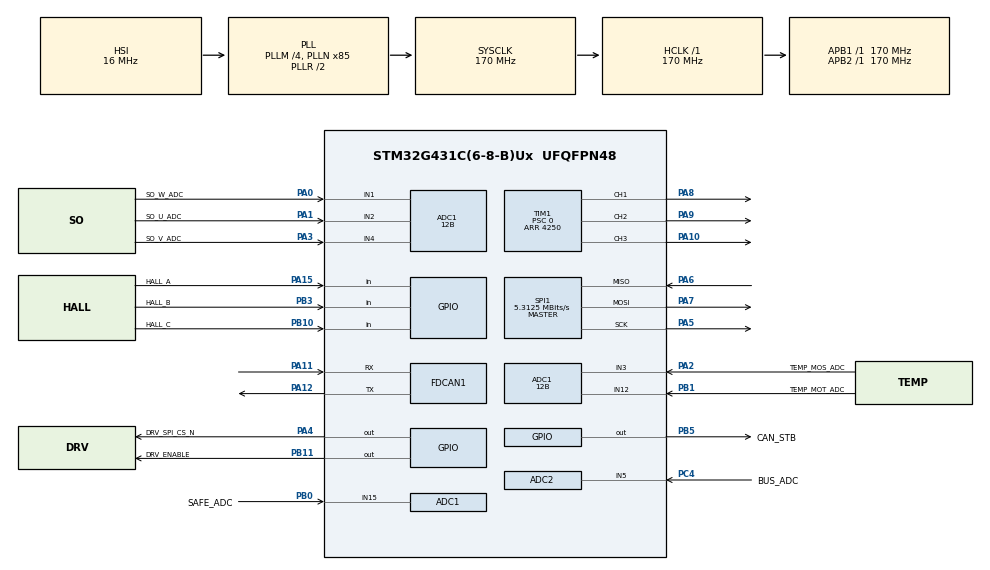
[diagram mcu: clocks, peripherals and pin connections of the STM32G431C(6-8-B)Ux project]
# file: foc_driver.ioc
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ADC1.Channel-0\#ChannelRegularConversion=ADC_CHANNEL_3
ADC1.Channel-1\#ChannelRegularConversion=ADC_CHANNEL_12
ADC1.Channel-2\#ChannelRegularConversion=ADC_CHANNEL_15
ADC1.ClockPrescaler=ADC_CLOCK_SYNC_PCLK_DIV4
ADC1.ContinuousConvMode=ENABLE
ADC1.DataAlign=ADC_DATAALIGN_RIGHT
ADC1.DiscontinuousConvMode=DISABLE
ADC1.EOCSelection=ADC_EOC_SEQ_CONV
ADC1.ExternalTrigConv=ADC_SOFTWARE_START
ADC1.ExternalTrigConvEdge=ADC_EXTERNALTRIGCONVEDGE_NONE
ADC1.LowPowerAutoWait=DISABLE
ADC1.Mode=ADC_MODE_INDEPENDENT
ADC1.NbrOfConversion=3
ADC1.NbrOfConversionFlag=1
ADC1.Overrun=ADC_OVR_DATA_OVERWRITTEN
ADC1.OversamplingMode=DISABLE
ADC1.Rank-0\#ChannelRegularConversion=1
ADC1.Rank-1\#ChannelRegularConversion=2
ADC1.Rank-2\#ChannelRegularConversion=3
ADC1.Resolution=ADC_RESOLUTION_12B
ADC1.SamplingTime-0\#ChannelRegularConversion=ADC_SAMPLETIME_247CYCLES_5
ADC1.SamplingTime-1\#ChannelRegularConversion=ADC_SAMPLETIME_247CYCLES_5
ADC1.SamplingTime-2\#ChannelRegularConversion=ADC_SAMPLETIME_247CYCLES_5
ADC1.ScanConvMode=ADC_SCAN_ENABLE
ADC1.master=1
ADC2.Channel-0\#ChannelRegularConversion=ADC_CHANNEL_5
ADC2.ClockPrescaler=ADC_CLOCK_SYNC_PCLK_DIV4
ADC2.ContinuousConvMode=ENABLE
ADC2.DataAlign=ADC_DATAALIGN_RIGHT
ADC2.DiscontinuousConvMode=DISABLE
ADC2.EOCSelection=ADC_EOC_SEQ_CONV
ADC2.ExternalTrigConv=ADC_SOFTWARE_START
ADC2.ExternalTrigConvEdge=ADC_EXTERNALTRIGCONVEDGE_NONE
ADC2.LowPowerAutoWait=DISABLE
ADC2.Mode=ADC_MODE_INDEPENDENT
ADC2.NbrOfConversion=1
ADC2.NbrOfConversionFlag=1
ADC2.Overrun=ADC_OVR_DATA_OVERWRITTEN
ADC2.OversamplingMode=DISABLE
ADC2.Rank-0\#ChannelRegularConversion=1
ADC2.Resolution=ADC_RESOLUTION_12B
ADC2.SamplingTime-0\#ChannelRegularConversion=ADC_SAMPLETIME_247CYCLES_5
ADC2.ScanConvMode=ADC_SCAN_DISABLE
FDCAN1.AutoRetransmission=ENABLE
FDCAN1.CalculateBaudRateNominal=499999
FDCAN1.CalculateTimeBitNominal=2000
FDCAN1.CalculateTimeQuantumNominal=117.64705882352942
FDCAN1.ClockDivider=FDCAN_CLOCK_DIV1
FDCAN1.DataPrescaler=1
FDCAN1.DataSyncJumpWidth=1
FDCAN1.DataTimeSeg1=1
FDCAN1.DataTimeSeg2=1
FDCAN1.ExtFiltersNbr=0
FDCAN1.FrameFormat=FDCAN_FRAME_CLASSIC
FDCAN1.Mode=FDCAN_MODE_NORMAL
FDCAN1.NominalPrescaler=20
FDCAN1.NominalSyncJumpWidth=2
FDCAN1.NominalTimeSeg1=14
FDCAN1.NominalTimeSeg2=2
FDCAN1.ProtocolException=DISABLE
FDCAN1.StdFiltersNbr=1
FDCAN1.TransmitPause=DISABLE
FDCAN1.TxFifoQueueMode=FDCAN_TX_FIFO_OPERATION
Mcu.Family=STM32G4
Mcu.Name=STM32G431C(6-8-B)Ux
Mcu.Package=UFQFPN48
NVIC.PriorityGroup=NVIC_PRIORITYGROUP_4
PA0.GPIO_Label=SO_W_ADC
PA0.Mode=IN1-Single-Ended
PA0.Signal=ADC1_IN1
PA1.GPIO_Label=SO_U_ADC
PA1.Mode=IN2-Single-Ended
PA1.Signal=ADC1_IN2
PA10.GPIO_Speed=GPIO_SPEED_FREQ_HIGH
PA10.Signal=S_TIM1_CH3
PA11.GPIO_Speed=GPIO_SPEED_FREQ_VERY_HIGH
PA11.Mode=FDCAN_Activate
PA11.Signal=FDCAN1_RX
PA12.GPIO_Speed=GPIO_SPEED_FREQ_VERY_HIGH
PA12.Mode=FDCAN_Activate
PA12.Signal=FDCAN1_TX
PA15.GPIO_Label=HALL_A
PA15.GPIO_PuPd=GPIO_NOPULL
PA15.Signal=GPIO_Input
PA2.GPIO_Label=TEMP_MOS_ADC
PA2.Mode=IN3-Single-Ended
PA2.Signal=ADC1_IN3
PA3.GPIO_Label=SO_V_ADC
PA3.Mode=IN4-Single-Ended
PA3.Signal=ADC1_IN4
PA4.GPIO_Label=DRV_SPI_CS_N
PA4.GPIO_PuPd=GPIO_NOPULL
PA4.GPIO_Speed=GPIO_SPEED_FREQ_HIGH
PA4.PinState=GPIO_PIN_SET
PA4.Signal=GPIO_Output
PA5.GPIO_Speed=GPIO_SPEED_FREQ_HIGH
PA5.Mode=Full_Duplex_Master
PA5.Signal=SPI1_SCK
PA6.GPIO_Speed=GPIO_SPEED_FREQ_HIGH
PA6.Mode=Full_Duplex_Master
PA6.Signal=SPI1_MISO
PA7.GPIO_Speed=GPIO_SPEED_FREQ_HIGH
PA7.Mode=Full_Duplex_Master
PA7.Signal=SPI1_MOSI
PA8.GPIO_Speed=GPIO_SPEED_FREQ_HIGH
PA8.Signal=S_TIM1_CH1
PA9.GPIO_Speed=GPIO_SPEED_FREQ_HIGH
PA9.Signal=S_TIM1_CH2
PB0.GPIO_Label=SAFE_ADC
PB0.Mode=IN15-Single-Ended
PB0.Signal=ADC1_IN15
PB1.GPIO_Label=TEMP_MOT_ADC
PB1.Mode=IN12-Single-Ended
PB1.Signal=ADC1_IN12
PB10.GPIO_Label=HALL_C
PB10.GPIO_PuPd=GPIO_NOPULL
PB10.Signal=GPIO_Input
PB11.GPIO_Label=DRV_ENABLE
PB11.GPIO_PuPd=GPIO_NOPULL
PB11.PinState=GPIO_PIN_RESET
PB11.Signal=GPIO_Output
PB12.GPIO_Label=BREAK_N
PB12.GPIO_PuPd=GPIO_NOPULL
PB12.Signal=TIM1_BKIN
PB13.GPIO_Speed=GPIO_SPEED_FREQ_HIGH
PB13.Signal=TIM1_CH1N
PB14.GPIO_Speed=GPIO_SPEED_FREQ_HIGH
PB14.Signal=TIM1_CH2N
PB15.GPIO_Speed=GPIO_SPEED_FREQ_HIGH
PB15.Signal=TIM1_CH3N
PB3.GPIO_Label=HALL_B
PB3.GPIO_PuPd=GPIO_NOPULL
PB3.Signal=GPIO_Input
PB5.GPIO_Label=CAN_STB
PB5.GPIO_PuPd=GPIO_NOPULL
PB5.PinState=GPIO_PIN_SET
PB5.Signal=GPIO_Output
PC4.GPIO_Label=BUS_ADC
PC4.Mode=IN5-Single-Ended
PC4.Signal=ADC2_IN5
ProjectManager.HeapSize=0x200
ProjectManager.StackSize=0x400
ProjectManager.TargetToolchain=CMake
RCC.ADC12Freq_Value=170000000
RCC.AHBFreq_Value=170000000
RCC.APB1Freq_Value=170000000
RCC.APB1TimFreq_Value=170000000
RCC.APB2Freq_Value=170000000
RCC.APB2TimFreq_Value=170000000
RCC.CortexFreq_Value=170000000
RCC.EXTERNAL_CLOCK_VALUE=12288000
RCC.HCLKFreq_Value=170000000
RCC.HSE_VALUE=8000000
RCC.HSI48_VALUE=48000000
RCC.HSI_VALUE=16000000
RCC.LSE_VALUE=32768
RCC.PLLM=RCC_PLLM_DIV4
RCC.PLLN=85
RCC.SYSCLKFreq_VALUE=170000000
RCC.SYSCLKSource=RCC_SYSCLKSOURCE_PLLCLK
RCC.USBFreq_Value=170000000
RCC.VCOOutputFreq_Value=340000000
SH.S_TIM1_CH1.0=TIM1_CH1,PWM Generation1 CH1 CH1N
SH.S_TIM1_CH2.0=TIM1_CH2,PWM Generation2 CH2 CH2N
SH.S_TIM1_CH3.0=TIM1_CH3,PWM Generation3 CH3 CH3N
SPI1.BaudRatePrescaler=SPI_BAUDRATEPRESCALER_32
SPI1.CLKPhase=SPI_PHASE_2EDGE
SPI1.CLKPolarity=SPI_POLARITY_LOW
SPI1.CRCCalculation=SPI_CRCCALCULATION_DISABLE
SPI1.CalculateBaudRate=5.3125 MBits/s
SPI1.DataSize=SPI_DATASIZE_16BIT
SPI1.Direction=SPI_DIRECTION_2LINES
SPI1.FirstBit=SPI_FIRSTBIT_MSB
SPI1.Mode=SPI_MODE_MASTER
SPI1.NSS=SPI_NSS_SOFT
SPI1.TIMode=SPI_TIMODE_DISABLE
SPI1.VirtualType=VM_MASTER
TIM1.AutoReloadPreload=TIM_AUTORELOAD_PRELOAD_ENABLE
TIM1.Channel-PWM\ Generation1\ CH1\ CH1N=TIM_CHANNEL_1
TIM1.Channel-PWM\ Generation2\ CH2\ CH2N=TIM_CHANNEL_2
TIM1.Channel-PWM\ Generation3\ CH3\ CH3N=TIM_CHANNEL_3
TIM1.ClockDivision=TIM_CLOCKDIVISION_DIV1
TIM1.CounterMode=TIM_COUNTERMODE_CENTERALIGNED1
TIM1.OCNIdleState_1=TIM_OCNIDLESTATE_RESET
TIM1.OCNIdleState_2=TIM_OCNIDLESTATE_RESET
TIM1.OCNIdleState_3=TIM_OCNIDLESTATE_RESET
TIM1.OCNPolarity_1=TIM_OCNPOLARITY_HIGH
TIM1.OCNPolarity_2=TIM_OCNPOLARITY_HIGH
TIM1.OCNPolarity_3=TIM_OCNPOLARITY_HIGH
TIM1.PeriodNoDither=4250
TIM1.Prescaler=0
TIM1.PulseNoDither_1=0
TIM1.PulseNoDither_2=0
TIM1.PulseNoDither_3=0
TIM1.TIM_MasterOutputTrigger=TIM_TRGO_OC4REF
TIM1.TIM_MasterOutputTrigger2=TIM_TRGO2_RESET
VP_TIM1_VS_ClockSourceINT.Mode=Internal
board=custom

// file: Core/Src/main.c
/* USER CODE BEGIN Header */
/**
  ******************************************************************************
  * @file           : main.c
  * @brief          : Main program body
  ******************************************************************************
  * @attention
  *
  * Copyright (c) 2026 STMicroelectronics.
  * All rights reserved.
  *
  * This software is licensed under terms that can be found in the LICENSE file
  * in the root directory of this software component.
  * If no LICENSE file comes with this software, it is provided AS-IS.
  *
  ******************************************************************************
  */
/* USER CODE END Header */
#include "main.h"
#include "adc.h"
#include "fdcan.h"
#include "spi.h"
#include "tim.h"
#include "gpio.h"

/* USER CODE BEGIN Includes */
#include "bsp.h"
#include "dl.h"
#include "bl.h"
/* USER CODE END Includes */

/* USER CODE BEGIN PD */

/********************************************************************************************
 * 上板自测开关 —— 默认 0，**改 1 重烧才会动电机**
 *
 * 为什么要有这一段：本工程目前没有可用的 CAN 指令解析（整车协议表未冻结），
 * 也没有速度环。刷进去之后状态机停在 IDLE、功率级断电，什么都不会发生 ——
 * 这对"确认板子活着"是好事，但也就没法验证相序、方向、电流采样。
 * 这段临时代码提供一个最小可用的激励：延时 → 使能 → 电压斜坡 → 保持 → 软停。
 *
 * ── 打开之前必须确认的事（每一条都会烧板子）──────────────────────────────────
 *   1. 母线电压 ≥ 30 V（BL_MOTOR_BUS_MIN_V），否则联锁挡住，永远进不了 ARMED。
 *      台面上用 24 V 电源试的话，先把 bl_motor.h 里的 BL_MOTOR_BUS_MIN_V 改小。
 *   2. 电机已经接好、转子能自由转（不要带负载、不要卡住）。
 *   3. 电流采样零点对：DRV8353 的 CSA 输出在零电流时应该是 VREF/2。
 *      用万用表量 SO_U/SO_V/SO_W 对地，或者看 CAN 状态帧里的电流是不是接近 0。
 *   4. 手上的电源能限流，建议先设 2 A。
 *
 * ── 预期现象 ────────────────────────────────────────────────────────────────
 *   2 s 后功率级使能；接下来 4 s 内 q 轴电压从 0 线性加到 BL_DEMO_VQ_MV；
 *   保持 2 s；然后软停。整个过程状态机会走 IDLE → ARMED → RUN → IDLE，
 *   CAN 状态帧（ID 0x180）里的状态字会跟着变。
 *
 *   如果电机不转但状态到了 RUN：先怀疑霍尔表/方向（bl_foc_set_direction）、
 *   再怀疑相序；如果状态一直在 IDLE：看 CAN 状态帧上不来，说明被联锁挡住了，
 *   最常见的是母线欠压或温度读数无效（NTC 参数还是占位值）。
 ********************************************************************************************/
#define BL_DEMO_ENABLE                                                  (0)
#define BL_DEMO_DELAY_MS                                                (2000U)
#define BL_DEMO_RAMP_MS                                                 (4000U)
#define BL_DEMO_HOLD_MS                                                 (2000U)
#define BL_DEMO_VQ_MV                                                   (2000)      /* 2.0 V，先小后大 */

/* USER CODE END PD */

void SystemClock_Config(void);

/* USER CODE BEGIN 0 */
#if (BL_DEMO_ENABLE == 1)
/********************************************************************************************
* 函数名称 :   DemoTask
* 功能描述 :   上板自测激励（见文件顶部 BL_DEMO_ENABLE 的说明）
*
*              用"上电后的毫秒数"当时间轴，不保存额外状态：
*              这条时间轴是单调的，重算一次就够，出问题时也好在调试器里核对。
*
*              电压用**逐拍增量**而不是"按时间算绝对值"，因为 bl_motor 内部本来就有一层
*              斜坡（BL_MOTOR_RAMP_V_PER_S）。这里的斜率要比它慢，才不会被它盖住 ——
*              2 V / 4 s = 0.5 V/s，远小于 20 V/s，所以实际波形由这里决定。
*
* 输入参数 :   now: HAL_GetTick()
* 输出参数 :   无
* 返回值   :   无
*********************************************************************************************/
static void DemoTask(U32 now)
{
  U32 elapsed;

  if (now < BL_DEMO_DELAY_MS)
  {
    return;
  }

  elapsed = now - BL_DEMO_DELAY_MS;

  if (elapsed == 0U)
  {
    /* 第一次进入：请求使能。真正的使能发生在 bl_motor 的下一个 1 ms 节拍里，
     * 而且要所有联锁通过 —— 所以这里返回 FAIL 是正常现象，不代表出错。 */
    (VOID)bl_motor_request_enable(TRUE);
  }

  if (elapsed < BL_DEMO_RAMP_MS)
  {
    /* 斜坡段：0 → BL_DEMO_VQ_MV，4 s 走完 */
    bl_motor_set_vq_v(((F32)BL_DEMO_VQ_MV / 1000.0F)
                    * ((F32)elapsed / (F32)BL_DEMO_RAMP_MS));
  }
  else if (elapsed < (BL_DEMO_RAMP_MS + BL_DEMO_HOLD_MS))
  {
    /* 保持段 */
    bl_motor_set_vq_v((F32)BL_DEMO_VQ_MV / 1000.0F);
  }
  else if (elapsed < (BL_DEMO_RAMP_MS + BL_DEMO_HOLD_MS + 100U))
  {
    /* 收尾：先清电压指令，再请求停止（软停由 bl_motor 自己做） */
    bl_motor_set_vq_v(0.0F);
    (VOID)bl_motor_request_enable(FALSE);
  }
  else
  {
    /* 做完就停在这里，不循环 —— 自测不该反复启停 */
  }
}
#endif
/* USER CODE END 0 */

int main(void)
{

  /* MCU Configuration--------------------------------------------------------*/

  /* Reset of all peripherals, Initializes the Flash interface and the Systick. */
  HAL_Init();

  /* Configure the system clock */
  SystemClock_Config();

  /* Initialize all configured peripherals */
  MX_GPIO_Init();
  MX_ADC1_Init();
  MX_ADC2_Init();
  MX_FDCAN1_Init();
  MX_SPI1_Init();
  MX_TIM1_Init();
  /* USER CODE BEGIN 2 */
  /* 三层初始化，顺序不能换：
   *   1. bsp_init() —— 配引脚、配外设，把板子留在"静默但已就绪"。
   *                    内部顺序见 bsp.c：先把 DRV 按进睡眠、让 CAN 收发器待机，
   *                    再起 PWM/ADC/CAN。DRV8353 探测失败时返回 FAIL，
   *                    但其余模块照常初始化完毕（坏板仍可看霍尔、走 CAN 诊断）。
   *   2. dl_init()  —— 清测量缓存、确认功率级关断。不启动任何外设。
   *   3. bl_init()  —— 注册 CAN 回调、接入总线、起电机策略层（IDLE，功率级仍关断）。
   *
   * 三层都返回成功也不代表电机会动：bl_init() 结束时状态是 IDLE，
   * 功率级是断电的。要动必须显式 bl_motor_request_enable(TRUE)。 */
  (VOID)bsp_init();
  (VOID)dl_init();
  (VOID)bl_init();
  /* USER CODE END 2 */

  /* Infinite loop */
  /* USER CODE BEGIN WHILE */
  U32 last_tick = HAL_GetTick();

  while (1)
  {
    /* USER CODE END WHILE */

    /* USER CODE BEGIN 3 */
    /* 1 ms 控制节拍。
     *
     * ⚠️ 为什么在主循环里按 tick 对齐，而不是放进 SysTick_Handler：
     *    bl_task_handler() 最终会走到 bsp_power_stage_enable()，那个函数用
     *    HAL_Delay() 轮询 DRV8353 的故障位。HAL_Delay() 依赖 SysTick 递增，
     *    如果本函数本身就在 SysTick 中断里，HAL_Delay() 会等一个永远不会推进的
     *    计数器 —— 直接死锁。这是稳压工程踩过的同一个坑。
     *
     * 用 (now - last) >= 1 而不是 == 1，是为了让主循环偶尔被卡住时能追上，
     * 而不是漏掉一整拍之后永远错位。 */
    if ((HAL_GetTick() - last_tick) >= 1U)
    {
      last_tick = HAL_GetTick();
      bl_task_handler();

#if (BL_DEMO_ENABLE == 1)
      DemoTask(HAL_GetTick());
#endif
    }

    bl_task_schedule();
  }
  /* USER CODE END 3 */
}

void SystemClock_Config(void)
{
  RCC_OscInitTypeDef RCC_OscInitStruct = {0};
  RCC_ClkInitTypeDef RCC_ClkInitStruct = {0};

  /** Configure the main internal regulator output voltage
  */
  HAL_PWREx_ControlVoltageScaling(PWR_REGULATOR_VOLTAGE_SCALE1_BOOST);

  /** Initializes the RCC Oscillators according to the specified parameters
  * in the RCC_OscInitTypeDef structure.
  */
  RCC_OscInitStruct.OscillatorType = RCC_OSCILLATORTYPE_HSI;
  RCC_OscInitStruct.HSIState = RCC_HSI_ON;
  RCC_OscInitStruct.HSICalibrationValue = RCC_HSICALIBRATION_DEFAULT;
  RCC_OscInitStruct.PLL.PLLState = RCC_PLL_ON;
  RCC_OscInitStruct.PLL.PLLSource = RCC_PLLSOURCE_HSI;
  RCC_OscInitStruct.PLL.PLLM = RCC_PLLM_DIV4;
  RCC_OscInitStruct.PLL.PLLN = 85;
  RCC_OscInitStruct.PLL.PLLP = RCC_PLLP_DIV2;
  RCC_OscInitStruct.PLL.PLLQ = RCC_PLLQ_DIV2;
  RCC_OscInitStruct.PLL.PLLR = RCC_PLLR_DIV2;
  if (HAL_RCC_OscConfig(&RCC_OscInitStruct) != HAL_OK)
  {
    Error_Handler();
  }

  /** Initializes the CPU, AHB and APB buses clocks
  */
  RCC_ClkInitStruct.ClockType = RCC_CLOCKTYPE_HCLK|RCC_CLOCKTYPE_SYSCLK
                              |RCC_CLOCKTYPE_PCLK1|RCC_CLOCKTYPE_PCLK2;
  RCC_ClkInitStruct.SYSCLKSource = RCC_SYSCLKSOURCE_PLLCLK;
  RCC_ClkInitStruct.AHBCLKDivider = RCC_SYSCLK_DIV1;
  RCC_ClkInitStruct.APB1CLKDivider = RCC_HCLK_DIV1;
  RCC_ClkInitStruct.APB2CLKDivider = RCC_HCLK_DIV1;

  if (HAL_RCC_ClockConfig(&RCC_ClkInitStruct, FLASH_LATENCY_4) != HAL_OK)
  {
    Error_Handler();
  }
}

void Error_Handler(void)
{
  __disable_irq();
  while (1)
  {
  }
}
